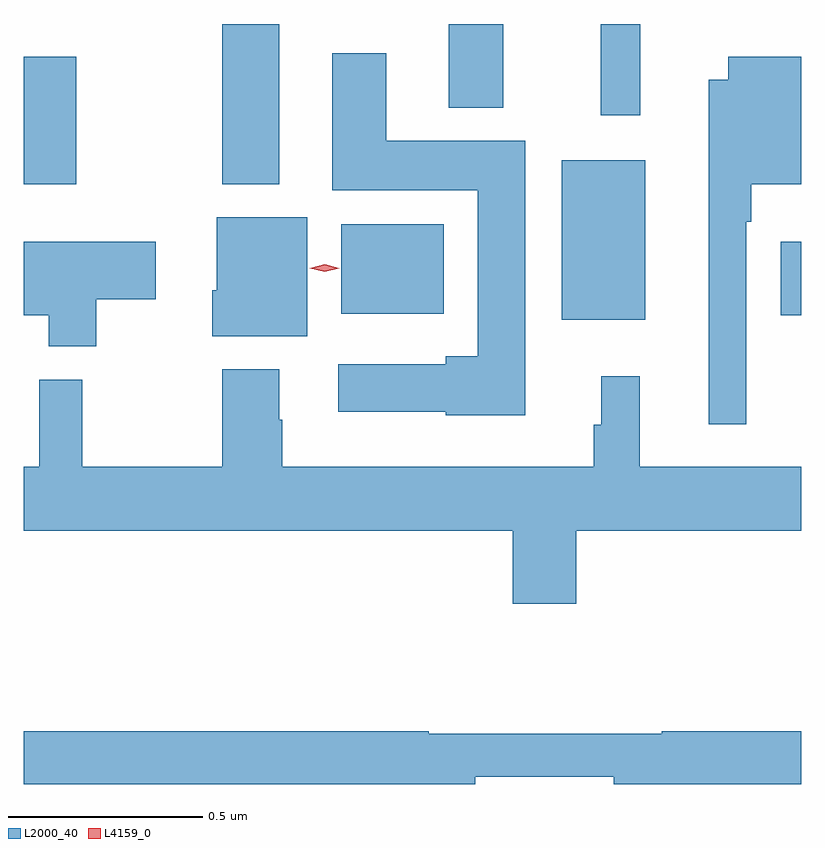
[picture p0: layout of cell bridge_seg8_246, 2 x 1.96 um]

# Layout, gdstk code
import gdstk
lib = gdstk.Library(unit=1e-6, precision=1e-09)
def R(c, l, rs):  # rectangles x0, y0, x1, y1
    for r in rs: c.add(gdstk.rectangle(r[:2], r[2:], *l))
def P(c, l, *ps):  # polygons
    for p in ps: c.add(gdstk.Polygon(p, *l))
L2000_40 = (2000, 40)
L4159_0 = (4159, 0)

bridge_seg8_246 = lib.new_cell('bridge_seg8_246')
R(bridge_seg8_246, L2000_40, [(285.014,1113.047,285.229,1113.457), (285.578,1113.059,285.63,1113.247), (284.447,1113.062,284.71,1113.292), (283.63,1113.395,283.765,1113.724), (284.14,1113.395,284.287,1113.808), (285.115,1113.573,285.216,1113.808), (284.723,1113.593,284.863,1113.808)])
P(bridge_seg8_246, L2000_40, [(284.92,1113.508),(284.563,1113.508),(284.563,1113.733),(284.423,1113.733),(284.423,1113.38),(284.798,1113.38),(284.798,1112.953),(284.715,1112.953),(284.715,1112.932),(284.439,1112.932),(284.439,1112.81),(284.715,1112.81),(284.715,1112.801),(284.92,1112.801)],
  [(285.489,1113.299),(285.502,1113.299),(285.502,1113.395),(285.63,1113.395),(285.63,1113.724),(285.443,1113.724),(285.443,1113.664),(285.392,1113.664),(285.392,1112.778),(285.489,1112.778)],
  [(284.359,1113.31),(284.126,1113.31),(284.126,1113.123),(284.114,1113.123),(284.114,1113.005),(284.359,1113.005)],
  [(283.816,1113.1),(283.969,1113.1),(283.969,1113.247),(283.63,1113.247),(283.63,1113.059),(283.694,1113.059),(283.694,1112.978),(283.816,1112.978)],
  [(285.052,1112.504),(285.63,1112.504),(285.63,1112.668),(285.215,1112.668),(285.215,1112.902),(285.116,1112.902),(285.116,1112.777),(285.097,1112.777),(285.097,1112.668),(284.295,1112.668),(284.295,1112.789),(284.287,1112.789),(284.287,1112.92),(284.14,1112.92),(284.14,1112.668),(283.78,1112.668),(283.78,1112.893),(283.67,1112.893),(283.67,1112.668),(283.63,1112.668),(283.63,1112.504),(284.888,1112.504),(284.888,1112.316),(285.052,1112.316)],
  [(284.792,1111.871),(285.148,1111.871),(285.148,1111.852),(285.63,1111.852),(285.63,1111.988),(285.272,1111.988),(285.272,1111.981),(284.672,1111.981),(284.672,1111.988),(283.63,1111.988),(283.63,1111.852),(284.792,1111.852)])
P(bridge_seg8_246, L4159_0, [(284.404,1113.17),(284.365,1113.18),(284.365,1113.18),(284.365,1113.18),(284.404,1113.19),(284.442,1113.18),(284.442,1113.18),(284.442,1113.18)])

lib.write_gds('bridge_seg8_246.gds')
